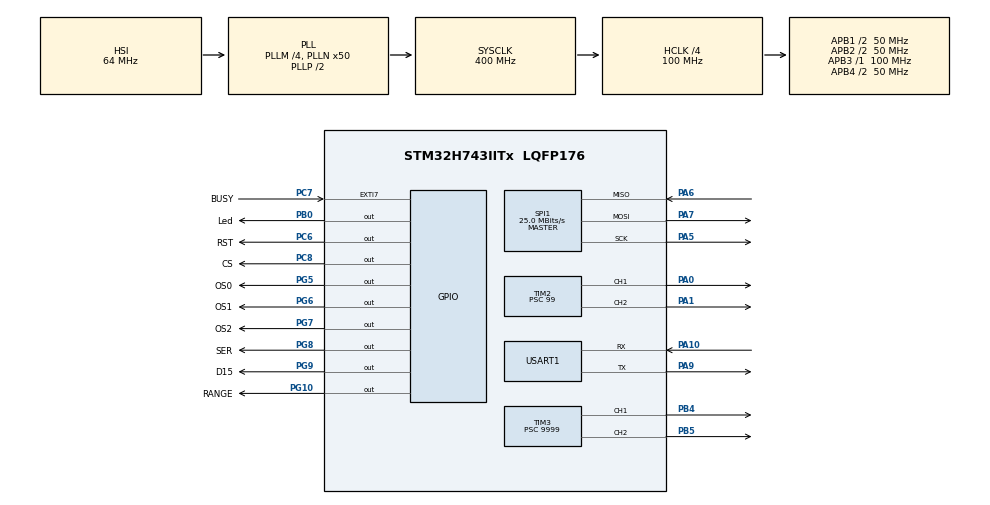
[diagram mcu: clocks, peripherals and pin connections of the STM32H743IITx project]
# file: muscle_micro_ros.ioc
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Dma.Request0=USART1_RX
Dma.Request1=USART1_TX
Dma.USART1_RX.0.Direction=DMA_PERIPH_TO_MEMORY
Dma.USART1_RX.0.EventEnable=DISABLE
Dma.USART1_RX.0.FIFOMode=DMA_FIFOMODE_DISABLE
Dma.USART1_RX.0.Instance=DMA1_Stream0
Dma.USART1_RX.0.MemDataAlignment=DMA_MDATAALIGN_BYTE
Dma.USART1_RX.0.MemInc=DMA_MINC_ENABLE
Dma.USART1_RX.0.Mode=DMA_CIRCULAR
Dma.USART1_RX.0.PeriphDataAlignment=DMA_PDATAALIGN_BYTE
Dma.USART1_RX.0.PeriphInc=DMA_PINC_DISABLE
Dma.USART1_RX.0.Polarity=HAL_DMAMUX_REQ_GEN_RISING
Dma.USART1_RX.0.Priority=DMA_PRIORITY_VERY_HIGH
Dma.USART1_RX.0.RequestNumber=1
Dma.USART1_RX.0.SignalID=NONE
Dma.USART1_RX.0.SyncEnable=DISABLE
Dma.USART1_RX.0.SyncPolarity=HAL_DMAMUX_SYNC_NO_EVENT
Dma.USART1_RX.0.SyncRequestNumber=1
Dma.USART1_RX.0.SyncSignalID=NONE
Dma.USART1_TX.1.Direction=DMA_MEMORY_TO_PERIPH
Dma.USART1_TX.1.EventEnable=DISABLE
Dma.USART1_TX.1.FIFOMode=DMA_FIFOMODE_DISABLE
Dma.USART1_TX.1.Instance=DMA1_Stream1
Dma.USART1_TX.1.MemDataAlignment=DMA_MDATAALIGN_BYTE
Dma.USART1_TX.1.MemInc=DMA_MINC_ENABLE
Dma.USART1_TX.1.Mode=DMA_NORMAL
Dma.USART1_TX.1.PeriphDataAlignment=DMA_PDATAALIGN_BYTE
Dma.USART1_TX.1.PeriphInc=DMA_PINC_DISABLE
Dma.USART1_TX.1.Polarity=HAL_DMAMUX_REQ_GEN_RISING
Dma.USART1_TX.1.Priority=DMA_PRIORITY_VERY_HIGH
Dma.USART1_TX.1.RequestNumber=1
Dma.USART1_TX.1.SignalID=NONE
Dma.USART1_TX.1.SyncEnable=DISABLE
Dma.USART1_TX.1.SyncPolarity=HAL_DMAMUX_SYNC_NO_EVENT
Dma.USART1_TX.1.SyncRequestNumber=1
Dma.USART1_TX.1.SyncSignalID=NONE
FREERTOS.Tasks01=defaultTask,24,3000,StartDefaultTask,As weak,NULL,Dynamic,NULL,NULL
FREERTOS.configUSE_NEWLIB_REENTRANT=1
Mcu.Family=STM32H7
Mcu.Name=STM32H743IITx
Mcu.Package=LQFP176
NVIC.DMA1_Stream0_IRQn=true\:5\:0\:false\:false\:true\:true\:false\:true\:true
NVIC.DMA1_Stream1_IRQn=true\:5\:0\:false\:false\:true\:true\:false\:true\:true
NVIC.EXTI9_5_IRQn=true\:5\:0\:false\:false\:true\:true\:true\:true\:true
NVIC.PriorityGroup=NVIC_PRIORITYGROUP_4
NVIC.TIM1_UP_IRQn=true\:15\:0\:false\:false\:true\:false\:false\:true\:true
NVIC.TimeBase=TIM1_UP_IRQn
NVIC.TimeBaseIP=TIM1
NVIC.USART1_IRQn=true\:5\:0\:false\:false\:true\:true\:true\:true\:true
PA0.Signal=S_TIM2_CH1_ETR
PA1.Signal=S_TIM2_CH2
PA10.Mode=Asynchronous
PA10.Signal=USART1_RX
PA5.Mode=Full_Duplex_Master
PA5.Signal=SPI1_SCK
PA6.Mode=Full_Duplex_Master
PA6.Signal=SPI1_MISO
PA7.Mode=Full_Duplex_Master
PA7.Signal=SPI1_MOSI
PA9.Mode=Asynchronous
PA9.Signal=USART1_TX
PB0.GPIO_Label=Led
PB0.PinState=GPIO_PIN_SET
PB0.Signal=GPIO_Output
PB4\ (NJTRST).Signal=S_TIM3_CH1
PB5.Signal=S_TIM3_CH2
PC14-OSC32_IN\ (OSC32_IN).Mode=LSE-External-Oscillator
PC14-OSC32_IN\ (OSC32_IN).Signal=RCC_OSC32_IN
PC15-OSC32_OUT\ (OSC32_OUT).Mode=LSE-External-Oscillator
PC15-OSC32_OUT\ (OSC32_OUT).Signal=RCC_OSC32_OUT
PC6.GPIO_Label=RST
PC6.Signal=GPIO_Output
PC7.GPIO_Label=BUSY
PC7.GPIO_ModeDefaultEXTI=GPIO_MODE_IT_FALLING
PC7.Signal=GPXTI7
PC8.GPIO_Label=CS
PC8.Signal=GPIO_Output
PG10.GPIO_Label=RANGE
PG10.Signal=GPIO_Output
PG5.GPIO_Label=OS0
PG5.Signal=GPIO_Output
PG6.GPIO_Label=OS1
PG6.Signal=GPIO_Output
PG7.GPIO_Label=OS2
PG7.Signal=GPIO_Output
PG8.GPIO_Label=SER
PG8.Signal=GPIO_Output
PG9.GPIO_Label=D15
PG9.Signal=GPIO_Output
PH0-OSC_IN\ (PH0).Mode=HSE-External-Oscillator
PH0-OSC_IN\ (PH0).Signal=RCC_OSC_IN
PH1-OSC_OUT\ (PH1).Mode=HSE-External-Oscillator
PH1-OSC_OUT\ (PH1).Signal=RCC_OSC_OUT
ProjectManager.HeapSize=0x200
ProjectManager.StackSize=0x400
ProjectManager.TargetToolchain=STM32CubeIDE
RCC.ADCFreq_Value=129000000
RCC.APB1Freq_Value=50000000
RCC.APB2Freq_Value=50000000
RCC.APB3Freq_Value=100000000
RCC.APB4Freq_Value=50000000
RCC.CortexFreq_Value=400000000
RCC.D2PPRE1=RCC_APB1_DIV2
RCC.D2PPRE2=RCC_APB2_DIV2
RCC.D3PPRE=RCC_APB4_DIV2
RCC.DIVM1=4
RCC.DIVN1=50
RCC.DIVQ1=4
RCC.HCLKFreq_Value=100000000
RCC.HPRE=RCC_HCLK_DIV4
RCC.PLL2FRACN=0
RCC.PLL3FRACN=0
RCC.PLLFRACN=0
RCC.SYSCLKFreq_VALUE=400000000
RCC.SYSCLKSource=RCC_SYSCLKSOURCE_PLLCLK
RCC.USBFreq_Value=200000000
SH.S_TIM2_CH1_ETR.0=TIM2_CH1,PWM Generation1 CH1
SH.S_TIM2_CH2.0=TIM2_CH2,PWM Generation2 CH2
SH.S_TIM3_CH1.0=TIM3_CH1,PWM Generation1 CH1
SH.S_TIM3_CH2.0=TIM3_CH2,PWM Generation2 CH2
SPI1.BaudRatePrescaler=SPI_BAUDRATEPRESCALER_8
SPI1.CLKPolarity=SPI_POLARITY_HIGH
SPI1.CalculateBaudRate=25.0 MBits/s
SPI1.DataSize=SPI_DATASIZE_16BIT
SPI1.Direction=SPI_DIRECTION_2LINES
SPI1.Mode=SPI_MODE_MASTER
SPI1.VirtualType=VM_MASTER
TIM2.Channel-PWM\ Generation1\ CH1=TIM_CHANNEL_1
TIM2.Channel-PWM\ Generation2\ CH2=TIM_CHANNEL_2
TIM2.OCPolarity_1=TIM_OCPOLARITY_HIGH
TIM2.OCPolarity_2=TIM_OCPOLARITY_HIGH
TIM2.Period=999
TIM2.Prescaler=99
TIM3.Channel-PWM\ Generation1\ CH1=TIM_CHANNEL_1
TIM3.Channel-PWM\ Generation2\ CH2=TIM_CHANNEL_2
TIM3.OCPolarity_1=TIM_OCPOLARITY_LOW
TIM3.OCPolarity_2=TIM_OCPOLARITY_HIGH
TIM3.Period=9999
TIM3.Prescaler=9999
USART1.VirtualMode-Asynchronous=VM_ASYNC
VP_FREERTOS_VS_CMSIS_V2.Mode=CMSIS_V2
VP_SYS_VS_tim1.Mode=TIM1
board=custom

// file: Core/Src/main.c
/* USER CODE BEGIN Header */
/**
  ******************************************************************************
  * @file           : main.c
  * @brief          : Main program body
  ******************************************************************************
  * @attention
  *
  * Copyright (c) 2024 STMicroelectronics.
  * All rights reserved.
  *
  * This software is licensed under terms that can be found in the LICENSE file
  * in the root directory of this software component.
  * If no LICENSE file comes with this software, it is provided AS-IS.
  *
  ******************************************************************************
  */
/* USER CODE END Header */
#include "main.h"
#include "cmsis_os.h"
#include "dma.h"
#include "spi.h"
#include "tim.h"
#include "usart.h"
#include "gpio.h"

void SystemClock_Config(void);
void MX_FREERTOS_Init(void);

int main(void)
{

  /* MCU Configuration--------------------------------------------------------*/

  /* Reset of all peripherals, Initializes the Flash interface and the Systick. */
  HAL_Init();

  /* Configure the system clock */
  SystemClock_Config();

  /* Initialize all configured peripherals */
  MX_GPIO_Init();
  MX_DMA_Init();
  MX_USART1_UART_Init();
  MX_TIM2_Init();
  MX_SPI1_Init();
  MX_TIM3_Init();

  /* Init scheduler */
  osKernelInitialize();

  /* Call init function for freertos objects (in cmsis_os2.c) */
  MX_FREERTOS_Init();

  /* Start scheduler */
  osKernelStart();

  /* We should never get here as control is now taken by the scheduler */

  /* Infinite loop */
  while (1)
  {

  }
}

void SystemClock_Config(void)
{
  RCC_OscInitTypeDef RCC_OscInitStruct = {0};
  RCC_ClkInitTypeDef RCC_ClkInitStruct = {0};

  /** Supply configuration update enable
  */
  HAL_PWREx_ConfigSupply(PWR_LDO_SUPPLY);

  /** Configure the main internal regulator output voltage
  */
  __HAL_PWR_VOLTAGESCALING_CONFIG(PWR_REGULATOR_VOLTAGE_SCALE1);

  while(!__HAL_PWR_GET_FLAG(PWR_FLAG_VOSRDY)) {}

  /** Initializes the RCC Oscillators according to the specified parameters
  * in the RCC_OscInitTypeDef structure.
  */
  RCC_OscInitStruct.OscillatorType = RCC_OSCILLATORTYPE_HSI;
  RCC_OscInitStruct.HSIState = RCC_HSI_DIV1;
  RCC_OscInitStruct.HSICalibrationValue = RCC_HSICALIBRATION_DEFAULT;
  RCC_OscInitStruct.PLL.PLLState = RCC_PLL_ON;
  RCC_OscInitStruct.PLL.PLLSource = RCC_PLLSOURCE_HSI;
  RCC_OscInitStruct.PLL.PLLM = 4;
  RCC_OscInitStruct.PLL.PLLN = 50;
  RCC_OscInitStruct.PLL.PLLP = 2;
  RCC_OscInitStruct.PLL.PLLQ = 4;
  RCC_OscInitStruct.PLL.PLLR = 2;
  RCC_OscInitStruct.PLL.PLLRGE = RCC_PLL1VCIRANGE_3;
  RCC_OscInitStruct.PLL.PLLVCOSEL = RCC_PLL1VCOWIDE;
  RCC_OscInitStruct.PLL.PLLFRACN = 0;
  if (HAL_RCC_OscConfig(&RCC_OscInitStruct) != HAL_OK)
  {
    Error_Handler();
  }

  /** Initializes the CPU, AHB and APB buses clocks
  */
  RCC_ClkInitStruct.ClockType = RCC_CLOCKTYPE_HCLK|RCC_CLOCKTYPE_SYSCLK
                              |RCC_CLOCKTYPE_PCLK1|RCC_CLOCKTYPE_PCLK2
                              |RCC_CLOCKTYPE_D3PCLK1|RCC_CLOCKTYPE_D1PCLK1;
  RCC_ClkInitStruct.SYSCLKSource = RCC_SYSCLKSOURCE_PLLCLK;
  RCC_ClkInitStruct.SYSCLKDivider = RCC_SYSCLK_DIV1;
  RCC_ClkInitStruct.AHBCLKDivider = RCC_HCLK_DIV4;
  RCC_ClkInitStruct.APB3CLKDivider = RCC_APB3_DIV1;
  RCC_ClkInitStruct.APB1CLKDivider = RCC_APB1_DIV2;
  RCC_ClkInitStruct.APB2CLKDivider = RCC_APB2_DIV2;
  RCC_ClkInitStruct.APB4CLKDivider = RCC_APB4_DIV2;

  if (HAL_RCC_ClockConfig(&RCC_ClkInitStruct, FLASH_LATENCY_1) != HAL_OK)
  {
    Error_Handler();
  }
}

void HAL_TIM_PeriodElapsedCallback(TIM_HandleTypeDef *htim)
{
  if (htim->Instance == TIM1) {
    HAL_IncTick();
  }
}

void Error_Handler(void)
{
  __disable_irq();
  while (1)
  {
  }
}

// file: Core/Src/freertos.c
/* USER CODE BEGIN Header */
/**
  ******************************************************************************
  * File Name          : freertos.c
  * Description        : Code for freertos applications
  ******************************************************************************
  * @attention
  *
  * Copyright (c) 2024 STMicroelectronics.
  * All rights reserved.
  *
  * This software is licensed under terms that can be found in the LICENSE file
  * in the root directory of this software component.
  * If no LICENSE file comes with this software, it is provided AS-IS.
  *
  ******************************************************************************
  */
/* USER CODE END Header */

#include "FreeRTOS.h"
#include "task.h"
#include "main.h"
#include "cmsis_os.h"

/* USER CODE BEGIN Includes */
#include <usart.h>
#include <rcl/rcl.h>
#include <rcl/error_handling.h>
#include <rclc/rclc.h>
#include <rclc/executor.h>
#include <uxr/client/transport.h>
#include <rmw_microxrcedds_c/config.h>
#include <rmw_microros/rmw_microros.h>
#include <std_msgs/msg/int32.h>

bool cubemx_transport_open(struct uxrCustomTransport * transport);
bool cubemx_transport_close(struct uxrCustomTransport * transport);
size_t cubemx_transport_write(struct uxrCustomTransport* transport, const uint8_t * buf, size_t len, uint8_t * err);
size_t cubemx_transport_read(struct uxrCustomTransport* transport, uint8_t* buf, size_t len, int timeout, uint8_t* err);

void * microros_allocate(size_t size, void * state);
void microros_deallocate(void * pointer, void * state);
void * microros_reallocate(void * pointer, size_t size, void * state);
void * microros_zero_allocate(size_t number_of_elements, size_t size_of_element, void * state);

/* USER CODE END Includes */

/* Definitions for defaultTask */
osThreadId_t defaultTaskHandle;
const osThreadAttr_t defaultTask_attributes = {
  .name = "defaultTask",
  .stack_size = 3000 * 4,
  .priority = (osPriority_t) osPriorityNormal,
};

void StartDefaultTask(void *argument);

void MX_FREERTOS_Init(void); /* (MISRA C 2004 rule 8.1) */

void MX_FREERTOS_Init(void) {

  /* Create the thread(s) */
  /* creation of defaultTask */
  defaultTaskHandle = osThreadNew(StartDefaultTask, NULL, &defaultTask_attributes);

}

__weak void StartDefaultTask(void *argument)
{
  for(;;)
  {
  }
}
